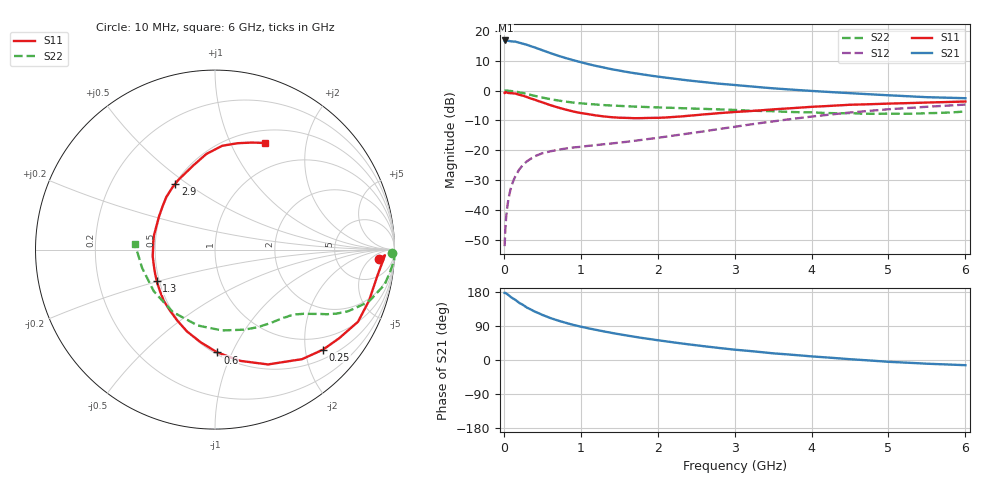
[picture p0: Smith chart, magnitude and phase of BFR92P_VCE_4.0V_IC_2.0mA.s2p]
! Infineon Technologies  Discrete & RF Semiconductors
! BFR92P
! VCE =  4.0 V,  IC =  2.0 mA
! Common Emitter S-Parameters:  Apr 2014
# GHz  S  MA  R  50
!  f  S11  S21  S12  S22
! GHz  MAG  ANG  MAG  ANG  MAG  ANG  MAG  ANG
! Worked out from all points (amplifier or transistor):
!   77 points, 10 MHz to 6 GHz, reference 50 ohm
!   highest |S21| = 16.8 dB at 20 MHz (marker M1)
!   |S21| within 3 dB of that: start of sweep to 472.1 MHz
!   unconditionally stable (mu >= 1): 1.393 GHz to 2.987 GHz
!   at 130 MHz: K = 0.11, MSG = 23.1 dB, |S12| = -29.8 dB
!   at 2.2 GHz: K = 1.10, MAG = 7.6 dB, |S12| = -15.1 dB
!   at 6 GHz: K = 0.89, MSG = 1.1 dB, |S12| = -4.7 dB
!   S11 on the Smith chart (normalised r, x): 10 MHz: 16, -10; 250 MHz: 0.70, -2.38; 600 MHz: 0.52, -0.88; 1.3 GHz: 0.48, -0.20; 2.9 GHz: 0.50, +0.45; 6 GHz: 0.65, +1.36
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0.01  0.9143 -3.4  6.725 177.1  0.0025 89.8  0.9859 -1.0
0.02  0.9474 -1.9  6.885 177.2  0.005 89.3  1 -1.7
0.05  0.9162 -9.2  6.834 172.9  0.0127 83.9  0.9981 -3.9
0.1  0.9043 -18.3  6.641 164.7  0.0255 78.8  0.9803 -7.9
0.15  0.8923 -26.8  6.577 158.7  0.037 75.7  0.9648 -11.7
0.2  0.85 -35.5  6.322 150.7  0.0478 70.4  0.9342 -14.9
0.25  0.8204 -42.8  6.067 145.3  0.0574 67.1  0.9099 -18.0
0.3  0.7798 -51.5  5.819 138.3  0.0656 62.7  0.8755 -20.6
0.4  0.7048 -65.2  5.271 127.9  0.0795 56.5  0.8166 -24.9
0.5  0.6358 -77.2  4.734 119.1  0.0894 52.3  0.7649 -27.8
0.6  0.573 -88.7  4.254 111.1  0.096 49.3  0.7201 -30.0
0.8  0.4819 -108.9  3.509 98.4  0.1071 45.4  0.6543 -33.2
0.9  0.4475 -118.1  3.231 92.8  0.1116 44.9  0.6302 -34.6
1.1  0.403 -135.2  2.764 83.6  0.119 44.9  0.5978 -36.9
1.3  0.3696 -151.4  2.425 75.5  0.1267 45.8  0.5714 -39.2
1.7  0.3451 179.1  1.952 61.3  0.1446 48.6  0.5394 -44.7
2.1  0.3542 155.3  1.648 49.5  0.1691 51.7  0.518 -51.0
2.9  0.4282 121.1  1.271 29.5  0.2376 53.4  0.4787 -67.5
3.1  0.4456 115.0  1.207 25.5  0.259 52.4  0.4675 -73.0
4.1  0.5425 93.3  0.969 8.1  0.3791 44.2  0.4263 -106.9
5.1  0.6097 76.7  0.822 -5.7  0.4959 30.0  0.4096 -149.7
6  0.6565 64.8  0.745 -13.7  0.5836 16.4  0.4465 176.3
